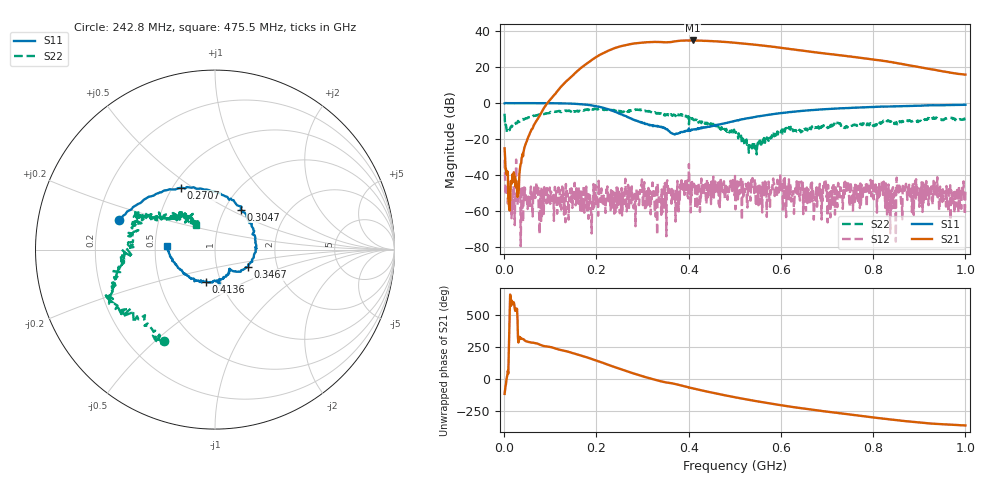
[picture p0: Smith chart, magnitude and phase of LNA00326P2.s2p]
! Created with skrf 1.9.0 (http://scikit-rf.org).
# Hz S RI R 50.0
!freq ReS11 ImS11 ReS21 ImS21 ReS12 ImS12 ReS22 ImS22
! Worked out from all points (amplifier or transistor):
!   1001 points, 1 MHz to 1 GHz, reference 50 ohm
!   highest |S21| = 34.9 dB at 408.6 MHz (marker M1)
!   |S21| within 3 dB of that: 256.4 MHz to 565.6 MHz (309.2 MHz wide, 75.2 % of centre)
!   unconditionally stable (mu >= 1): 205.1 MHz to 298.5 MHz; 299 MHz to 400.3 MHz; 401.2 MHz to end of sweep (the widest 3 of 31)
!   at 166.8 MHz: K = 0.74, MSG = 34.5 dB, |S12| = -49.3 dB
!   at 500.5 MHz: K = 1.16, MAG = 34.7 dB, |S12| = -40.6 dB
!   at 1 GHz: K = 3.80, MAG = 23.4 dB, |S12| = -48.5 dB
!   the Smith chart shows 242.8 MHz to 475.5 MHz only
!   S11 on the Smith chart (normalised r, x): 242.8 MHz: 0.29, +0.14; 270.7 MHz: 0.55, +0.45; 304.7 MHz: 1.18, +0.57; 346.7 MHz: 1.42, -0.29; 413.6 MHz: 0.85, -0.31; 475.5 MHz: 0.58, +0.02
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1000000  0.9865 0.00341  -0.0235 -0.0498  -0.0266 0.00145  0.375 0.3408
1.08892e8  0.512 -0.8507  -0.7783 -1.512  0.00261 0.00179  0.4369 -0.3639
1.67833e8  -0.2508 -0.8935  -9.847 -0.6738  0.00168 -0.000409  0.0776 -0.6289
2.09791e8  -0.677 -0.3621  -15.66 16.72  0.000549 -0.00179  -0.1568 -0.6663
2.42758e8  -0.5355 0.1632  -0.1993 35.01  -0.00214 0.000426  -0.2846 -0.5096
2.7073e8  -0.1903 0.3443  24.23 35.71  0.00118 -0.000206  -0.5161 -0.3714
3.04696e8  0.1428 0.2232  46.79 14.91  -0.000753 -0.00184  -0.5698 -0.2281
3.34666e8  0.2273 -0.0129  49.41 -10.61  -0.00199 0.00234  -0.5062 -0.0649
3.46654e8  0.1855 -0.0965  46.01 -18.84  -0.00295 0.00477  -0.4575 -0.0407
3.77623e8  0.0812 -0.1192  38.88 -37.38  -0.000414 0.0021  -0.4442 0.192
4.08592e8  -0.0174 -0.183  17.49 -52.88  -0.000713 0.00463  -0.3122 0.207
4.13587e8  -0.0487 -0.178  13.56 -53.58  0.00444 0.00238  -0.2984 0.1679
4.41559e8  -0.1748 -0.1311  -8.014 -53.65  0.00347 0.00491  -0.2109 0.1774
4.75525e8  -0.2687 0.0192  -28.57 -42.24  0.00394 -2.41e-05  -0.1068 0.1363
5.005e8  -0.2843 0.151  -37.98 -29.76  -0.0016 0.0092  -0.0762 0.1333
5.4046e8  -0.1889 0.3567  -41.78 -8.649  0.00443 -0.00124  -0.0604 0.0359
5.84416e8  0.00913 0.4974  -35.74 9.738  0.00178 -0.00568  -0.1305 -0.0467
6.25375e8  0.2037 0.5348  -24.77 19.26  3.89e-05 -0.00319  -0.1605 -0.0941
6.67333e8  0.4058 0.4955  -13.63 22.81  -0.000819 -0.00607  -0.221 -0.0401
7.55245e8  0.6895 0.2708  3.06 19.21  0.000466 -0.00288  -0.2336 0.0398
8.34166e8  0.8021 0.00868  9.861 10.23  -0.00123 -0.0022  -0.3119 0.0115
1e9  0.7224 -0.5332  6.218 -0.2526  -0.00283 -0.00251  -0.2177 0.2833
